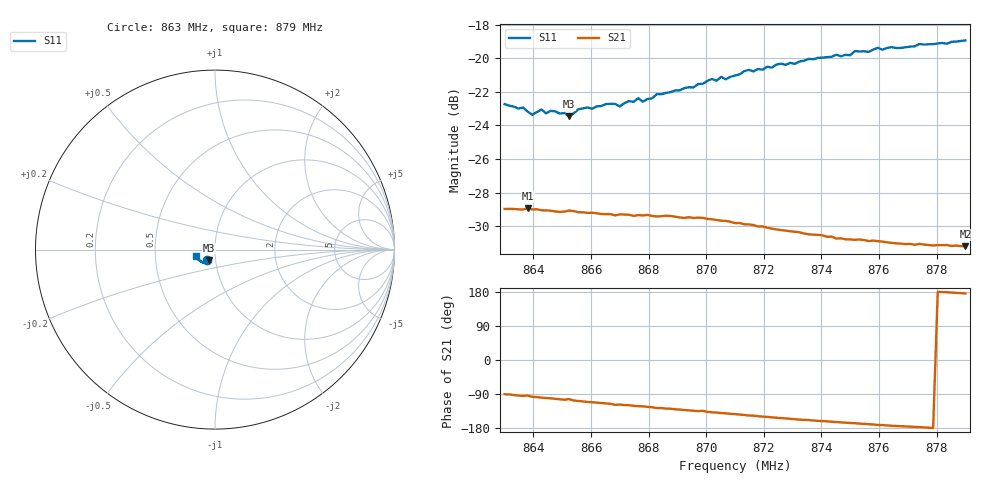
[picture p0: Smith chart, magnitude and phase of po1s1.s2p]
# HZ S RI R 50
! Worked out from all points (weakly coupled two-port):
!   101 points, 863 MHz to 879 MHz, reference 50 ohm
!   highest |S21| = -28.94 dB at 863.8 MHz (marker M1); lowest = -31.2 dB at 879 MHz (marker M2)
!   lowest |S11| = -23.4 dB at 865.24 MHz (marker M3), VSWR 1.14, Z = 46.5 - j5.46 ohm
!   |S11| at or under -10 dB: start of sweep to end of sweep
!   S12 and S22 are empty: the file has one direction only
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8.63e8  -0.0449 -0.0576  -0.000159 -0.0356  0 0  0 0
8.6364e8  -0.043 -0.057  -0.00281 -0.0353  0 0  0 0
8.638e8  -0.0401 -0.0567  -0.00241 -0.0357  0 0  0 0
8.6396e8  -0.0395 -0.0552  -0.00438 -0.0352  0 0  0 0
8.6428e8  -0.0391 -0.0585  -0.00574 -0.0348  0 0  0 0
8.6444e8  -0.039 -0.0564  -0.00628 -0.0347  0 0  0 0
8.646e8  -0.0393 -0.0576  -0.00681 -0.0345  0 0  0 0
8.6524e8  -0.0332 -0.0585  -0.00801 -0.0343  0 0  0 0
8.6572e8  -0.0378 -0.06  -0.0115 -0.0328  0 0  0 0
8.6652e8  -0.0387 -0.062  -0.0143 -0.0312  0 0  0 0
8.67e8  -0.0363 -0.0621  -0.0158 -0.0304  0 0  0 0
8.6764e8  -0.0378 -0.066  -0.018 -0.029  0 0  0 0
8.678e8  -0.0373 -0.0642  -0.0182 -0.0288  0 0  0 0
8.6844e8  -0.0387 -0.0679  -0.0203 -0.0271  0 0  0 0
8.6956e8  -0.0442 -0.0689  -0.0232 -0.0241  0 0  0 0
8.702e8  -0.0477 -0.0725  -0.0246 -0.0222  0 0  0 0
8.7068e8  -0.0486 -0.0717  -0.0254 -0.0208  0 0  0 0
8.71e8  -0.0519 -0.0721  -0.0257 -0.0195  0 0  0 0
8.7148e8  -0.0558 -0.0736  -0.0266 -0.0177  0 0  0 0
8.7372e8  -0.0705 -0.07  -0.0279 -0.0104  0 0  0 0
8.7644e8  -0.0922 -0.0562  -0.028 -0.00318  0 0  0 0
8.79e8  -0.1071 -0.0361  -0.0275 0.00206  0 0  0 0
